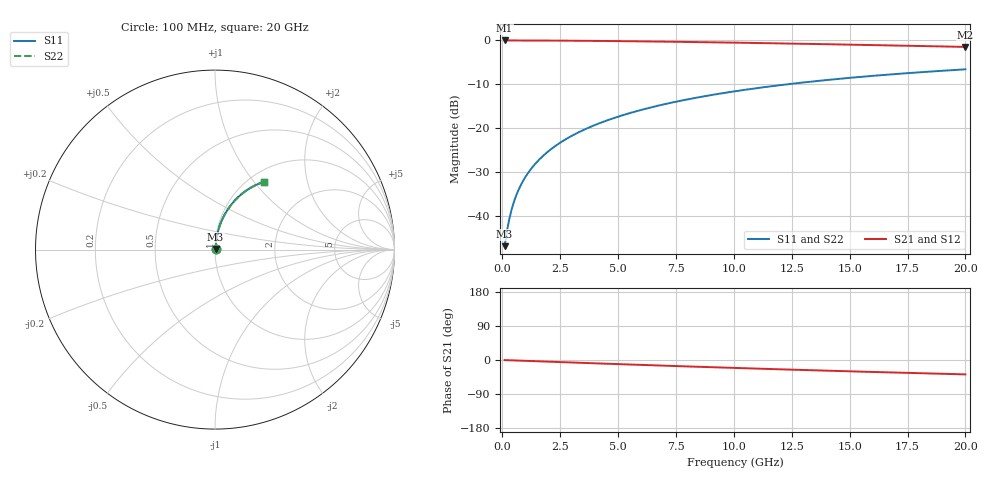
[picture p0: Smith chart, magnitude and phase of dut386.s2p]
! Touchstone file exported from HFSS 2024.1.0
!  File:  C:/UserFiles/LocalFiles/RDL_TSV_Batchsim/temp_RDL_top_386_1779609596.aedt
!  Generated:  04:02:31 PM May 24, 2026
!  Design:  RDL_top
!  Project:  temp_RDL_top_386_1779609596
!  Setup:  Setup1
!  Solution:  Sweep
! Variables:
!  dtsv = 10.80580581um
!  hbump = 3um
!  htsv = 61.57um
!  ldown = 100um
!  lrdl = 439.88um
!  p = 40
!  p1 = 58.31um
!  rhole = 1um
!  t = 450um
!  tdown = 3.915915916um
!  trdl = 4.18um
!  wdown = 15.38538539um
!  wrdl = 10.8um
# GHz S MA R 50.000000
! Terminal data exported
! Port[1] = Box2_T1
! Port[2] = Box2_T2
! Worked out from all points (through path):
!   200 points, 100 MHz to 20 GHz, reference 50 ohm
!   highest |S21| = -0.03 dB at 100 MHz (marker M1); lowest = -1.5 dB at 20 GHz (marker M2)
!   group delay of S21, straight-line fit = 5.27 ps
!   lowest |S11| = -47.0 dB at 100 MHz (marker M3), VSWR 1.01, Z = 50.4 + j0.28 ohm
!   |S11| at or under -10 dB: start of sweep to 12.37 GHz
!   |S22| runs from -47.0 to -6.6 dB; largest |S21 - S12| = 3e-15
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0.1  0.004476 38.3  0.9965 -0.2  0.9965 -0.2  0.004476 38.3
! Gamma 0 0 0 0
! Port Impedance 50 0 50 0
0.2  0.006592 57.2  0.9964 -0.5  0.9964 -0.5  0.006592 57.2
0.3  0.009063 66.2  0.9964 -0.7  0.9964 -0.7  0.009063 66.2
0.4  0.01165 71.1  0.9963 -0.9  0.9963 -0.9  0.01165 71.1
0.5  0.01428 74.1  0.9961 -1.1  0.9961 -1.1  0.01428 74.1
0.6  0.01694 76.2  0.996 -1.3  0.996 -1.3  0.01694 76.2
0.8  0.02226 78.7  0.9958 -1.8  0.9958 -1.8  0.02226 78.7
1.1  0.03029 80.6  0.9953 -2.5  0.9953 -2.5  0.03029 80.6
1.5  0.04102 81.7  0.9945 -3.3  0.9945 -3.3  0.04102 81.7
1.8  0.04907 82.0  0.9938 -4.0  0.9938 -4.0  0.04907 82.0
2.1  0.05713 82.1  0.993 -4.7  0.993 -4.7  0.05713 82.1
2.7  0.07324 81.8  0.991 -6.0  0.991 -6.0  0.07324 81.8
3.5  0.09466 81.0  0.9877 -7.7  0.9877 -7.7  0.09465 81.0
4.2  0.1133 80.1  0.9843 -9.2  0.9843 -9.2  0.1133 80.1
5  0.1345 78.9  0.9797 -10.9  0.9797 -10.9  0.1345 78.9
5.9  0.158 77.5  0.974 -12.8  0.974 -12.8  0.158 77.5
6.8  0.1813 76.0  0.9676 -14.6  0.9676 -14.6  0.1813 76.0
8.3  0.2194 73.4  0.9559 -17.6  0.9559 -17.6  0.2193 73.4
10.1  0.2635 70.3  0.9404 -21.1  0.9404 -21.1  0.2634 70.3
13.4  0.3391 64.7  0.9091 -27.1  0.9091 -27.1  0.339 64.7
16.7  0.4069 59.3  0.8754 -32.7  0.8754 -32.7  0.4069 59.3
20  0.4665 54.2  0.8409 -37.9  0.8409 -37.9  0.4664 54.2
